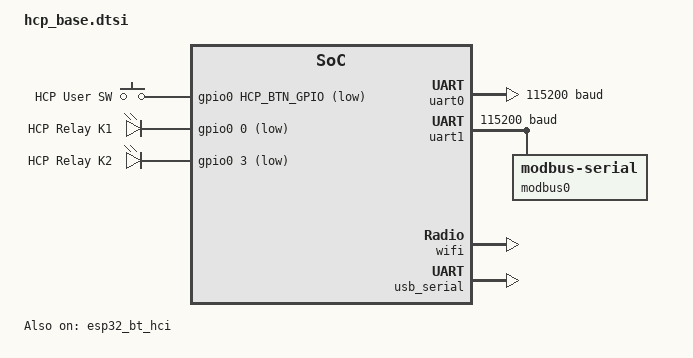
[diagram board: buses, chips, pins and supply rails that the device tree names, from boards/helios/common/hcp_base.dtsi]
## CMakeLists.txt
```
# Helios Collector Platform (HCP) — Zephyr application
# Copyright (c) 2026 maybetaken
# SPDX-License-Identifier: Apache-2.0
cmake_minimum_required(VERSION 3.20.0)

# The three reusable modules (blufi, ota_client, ws2812_rmt) are west projects
# now, fetched into the workspace's modules/ tree - west discovers them by their
# zephyr/module.yml, so nothing here needs to name them. What does need naming is
# the devicetree root: dts roots are collected from the west manifest, and this
# application is not a west module. Verified the hard way - without DTS_ROOT, a
# node using the module's compatible got its properties ignored (no DT_HAS_*
# symbol, so the driver's Kconfig was never selectable) and the failure surfaced
# much later as an undefined device object at link time.
#
# ZEPHYR_BASE is only defined INSIDE find_package(Zephyr), so it cannot be used
# here - the workspace root comes from the environment instead, which west sets.
list(APPEND DTS_ROOT $ENV{ZEPHYR_BASE}/../modules/drivers/ws2812_rmt)

find_package(Zephyr REQUIRED HINTS $ENV{ZEPHYR_BASE})
project(hcp LANGUAGES C CXX)

# Reusable lib modules (each owns its Kconfig/CMake/tests).
add_subdirectory(lib/kernel)
add_subdirectory(lib/log)
add_subdirectory(lib/input)
add_subdirectory(lib/storage)
add_subdirectory(lib/transport/serial)
add_subdirectory(lib/modbus)
add_subdirectory(lib/registry)
add_subdirectory(lib/collector)
add_subdirectory(lib/switch)
add_subdirectory(lib/led)
add_subdirectory(lib/net)
add_subdirectory(lib/identity)
add_subdirectory(lib/provision)
add_subdirectory(lib/mqtt)
add_subdirectory(lib/ssdp)
add_subdirectory(lib/ota)

# Application. main.cpp is only the entry point: the start-up sequence is
# hcp-app.cpp, and the collaborators it drives are the app_*.cpp beside it.
target_sources(app PRIVATE
  src/main.cpp
  src/hcp-app.cpp
  src/app_demos.cpp
  src/app_blufi.cpp
  src/app_services.cpp)
```

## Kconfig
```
# HCP application Kconfig
# Copyright (c) 2026 maybetaken
# SPDX-License-Identifier: Apache-2.0

mainmenu "Helios Collector Platform"

# Reusable lib modules (each owns its Kconfig).
rsource "lib/kernel/Kconfig"
rsource "lib/log/Kconfig"
rsource "lib/input/Kconfig"
rsource "lib/storage/Kconfig"
rsource "lib/transport/serial/Kconfig"
rsource "lib/modbus/Kconfig"
rsource "lib/registry/Kconfig"
rsource "lib/collector/Kconfig"
rsource "lib/switch/Kconfig"
rsource "lib/led/Kconfig"
rsource "lib/net/Kconfig"
rsource "lib/identity/Kconfig"
rsource "lib/provision/Kconfig"
rsource "lib/mqtt/Kconfig"
rsource "lib/ssdp/Kconfig"
rsource "lib/ota/Kconfig"

# Zephyr's default log ring is 1024 B. That is not enough for the ESP32-C3's boot
# burst: MCUboot's own load lines and the ESP HAL chatter fill it before the log
# thread drains anything, and the first application messages of every boot - the
# identity block and the build banner - were being dropped (three captures in a row
# showed nothing of it, while the same build with 2048 B showed all three lines).
# The ESP32-C5 cannot afford the extra kilobyte: its SRAM links with about 3,200
# bytes free (measured), so it keeps the default and its boot log stays lossy.
config LOG_BUFFER_SIZE
	default 2048 if !BOARD_HCP_C5

config HCP_BENCH
	bool "Bench / HIL firmware: bring-up aids on, verbose logging"
	default n
	help
	  A build meant to be run on the test bench rather than shipped: device-domain
	  logging is debug so the boot is readable without a serial session, and the
	  bring-up aids in src/app_demos.cpp are available. hcp::provision, MQTT, SSDP,
	  OTA and the collector stay in, so a bench device is reachable and upgradeable
	  over the network - which is the point: after the first flash it should never
	  need the USB port again.

	  ./build.sh <board> --bench

	  The aids are still each behind their own switch and none is turned on by this
	  symbol. Two of them want pins the product path is already using: the Modbus
	  poll demo would be a second master on the bus hcp::collector owns, and the raw
	  loopback test drives the same uart1 TX/RX. The LED colour cycle needs the strip
	  to itself, so it only compiles when hcp::provision is off (a status light and a
	  demo cannot share one pin) - add -DCONFIG_HCP_PROVISION=n for that.

	  The product build compiles none of this in, and the boot banner says which
	  image is running.

config APP_VERSION
	string "firmware version (dotted numeric: major.minor.patch.build)"
	default "2.0.3.21"
	help
	  The one version knob of a build. Reported on the <sn>/online topic and used
	  by hcp::ota as "what am I running", so an update is only taken when the
	  server offers something above it (hcp::ota_client parses up to four dotted
	  fields, so 2.0.3.14 compares correctly against an earlier 2.0.3.13).

	  MCUboot compares the version in the image header
	  (CONFIG_MCUBOOT_IMGTOOL_SIGN_VERSION), not this string, so the two have to
	  move together: ./build.sh <board> --version <x.y.z.w> sets both. It spells
	  the header version as x.y.z+w because that is all imgtool's regex accepts -
	  see the note in prj.conf.

	  The release line started at 2.0.0.0; it is deliberately four fields so a
	  build number can be bumped without touching the version the hardware contract
	  (Home Assistant's firmware sensor) sees as major.minor.patch.

source "Kconfig.zephyr"
```

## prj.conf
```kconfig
# HCP application defaults (board defconfig provides SoC/console basics)
# Copyright (c) 2026 maybetaken
# SPDX-License-Identifier: Apache-2.0
CONFIG_CONSOLE=y
CONFIG_SERIAL=y
CONFIG_UART_CONSOLE=y
CONFIG_GPIO=y
CONFIG_BOOT_BANNER=y
# Zephyr LOG subsystem (hcp::log zephyr backend routes through it)
CONFIG_LOG=y
CONFIG_LOG_PRINTK=y
# Buffered (deferred) logging, deliberately NOT CONFIG_LOG_MODE_IMMEDIATE: the
# console is USB-Serial-JTAG, whose host may simply stop reading (laptop asleep,
# terminal closed, or a stale handle after the device re-enumerates). With
# immediate mode the log call writes synchronously, so once the TX ring fills
# *whichever thread logged* blocks there - the product keeps running (link up, LED
# green) while no log line can ever appear again. In buffered mode a full ring just
# drops messages (logged with a counter) and no business thread is ever stalled by
# the debug port. Immediate mode also formatted on the caller's stack, which is what
# forced the oversized BT RX stack below.
# The log buffer is 2048 B on the C6 and C3 (see LOG_BUFFER_SIZE in the application
# Kconfig, which says what the 1024 B default cost us) and left at Zephyr's default
# on the ESP32-C5, where the extra kilobyte does not fit: raising it there overflowed
# SRAM, the binding target for memory on that board.
# Device-domain INFO. It used to be 4 (debug) purely so the "alive, uptime" line
# was visible by default; that line is debug-level now (the P0 self-test that came
# with it is gone), so raising the whole domain back to debug for it would only
# flood every other device message. For a bench session: -- -DCONFIG_HCP_LOG_LEVEL_DEVICE=4
CONFIG_HCP_LOG_LEVEL_DEVICE=3
# C++ runtime (operator new/delete used by hcp::kernel backends)
CONFIG_CPP=y
# ESP HAL drivers (spi_flash, intc_esp32) and esp_wifi (CONFIG_ESP_WIFI_HEAP_SYSTEM)
# use the kernel heap; esp_wifi needs a large pool or association/DHCP get flaky.
CONFIG_HEAP_MEM_POOL_SIZE=51200
# hcp::kernel's static thread pool. 8 slots (8 x 2 KB stacks + thread objects,
# ~20 KB of SRAM) was never used: a normal build runs the producer only, the LED
# demo is off while hcp::provision owns the strip, and modbus/net are demo-gated.
# The ESP32-C5 hpcore image did not fit in SRAM once TCP + IGMP were added, so the
# pool is sized to what the product actually starts; raise it if a build enables
# several workers at once.
CONFIG_HCP_KERNEL_MAX_THREADS=4
# esp_wifi should allocate from the system heap above (choice symbol, set here)
CONFIG_ESP_WIFI_HEAP_SYSTEM=y
# Wi-Fi / net stack sizing
CONFIG_MAIN_STACK_SIZE=4096
CONFIG_SYSTEM_WORKQUEUE_STACK_SIZE=4096
CONFIG_NET_MGMT_EVENT_STACK_SIZE=4096
# A Wi-Fi scan emits one net_mgmt event per AP.  The default queue (5) drops
# results when the phone is connected over BLE and several APs are found.
CONFIG_NET_MGMT_EVENT_QUEUE_SIZE=32
# Device name on the LAN. hcp::identity owns the real value: it resolves the
# serial number (storage "dev/snr", else the station MAC) and pushes it through
# net_hostname_set(), so the router's client list shows exactly the string the
# MQTT topics start with - without NET_HOSTNAME_ENABLE the DHCPv4 client sends no
# option 12 and every unit looks like its MAC vendor ("Espressif"). The module
# selects NET_HOSTNAME_ENABLE/DYNAMIC itself; what is set here is the name used
# until identity::Init() runs - the "hcp-" prefix plus the STA MAC in lowercase
# hex (NET_HOSTNAME_UNIQUE appends it at interface init), which for a MAC-derived
# serial already is the final answer.
CONFIG_NET_HOSTNAME_ENABLE=y
CONFIG_NET_HOSTNAME="hcp-"
CONFIG_NET_HOSTNAME_UNIQUE=y
# BLE (BluFi): LOG_MODE_IMMEDIATE formats every log line on the calling thread.
# GATT service discovery runs on the BT RX thread; the 1200-byte default stack
# overflows there (illegal-instruction crash in cbvprintf on the first client
# Read By Group Type). Size it like the other threaded stacks above.
CONFIG_BT_RX_STACK_SIZE=4096
# BLE (BluFi): the stack defaults are tuned for tiny 23-byte packets. BluFi
# control/data frames (wifi list, encrypted ssid/password) are far larger, so a
# bt_gatt_notify() of >20B payload fails with -ENOMEM. Raise the ATT/L2CAP MTU and
# the ACL buffer size so notifications up to a full BluFi frame (~259B) fit; the
# EspBlufi app requests MTU 517 after connecting, so accept that here.
CONFIG_BT_L2CAP_TX_MTU=512
CONFIG_BT_BUF_ACL_TX_SIZE=251
CONFIG_BT_BUF_ACL_RX_SIZE=251
# BLE (BluFi) TX power. Zephyr's BT_CTLR_TX_PWR choice defaults to 0 dBm and nobody
# raised it, so the C6 controller (components/bt/include/esp32c6/esp_bt.h maps
# CONFIG_BT_CTLR_TX_PWR_* -> ESP32_BT_CTRL_DFT_TX_POWER_LEVEL_EFF -> BLE_LL_TX_PWR_DBM_N)
# advertised ~9 dB below what an ESP-IDF build does - that is the "weak signal /
# dropped notifications" symptom. Choice symbol, so it must be assigned here, not
# selected. +9 dBm is the ESP-IDF-era default and well inside the module's range
# (it supports up to +21); re-check current consumption if this board gets battery-
# powered OTA.
CONFIG_BT_CTLR_TX_PWR_PLUS_9=y
# BluFi (ESP-compatible BLE provisioning): part of the product, so on by default
# for every board. Selects BT/BT_PERIPHERAL/BT_DRIVERS/BT_ESP32 (see
# modules/lib/blufi/Kconfig). Encrypted provisioning is implemented but stays
# off by default (CONFIG_BLUFI_SECURITY=n): plaintext works with both the WeChat
# mini-program and the Espressif apps, and enabling it links a vendored
# mbedtls-2.4 DHM/bignum/AES/MD5 (~15 KB).
CONFIG_BLUFI=y
# EspBlufi / ESP-Config filter discovered devices by a BLUFI-prefixed name.
CONFIG_BT_DEVICE_NAME="BLUFI_DEVICE"
# BluFi advertises from a fresh random-static identity each boot (blufi_start calls
# bt_id_create) so the phone does not reuse a cached per-address provisioning state.
# Zephyr's default BT_ID_MAX=1 leaves only BT_ID_DEFAULT, so bt_id_create returned
# -ENOMEM (-12) and the code silently fell back to the fixed public address - the
# whole point was lost. Keep one spare slot for it.
CONFIG_BT_ID_MAX=2
# A Wi-Fi scan or association burst deafens the ESP32's shared 2.4 GHz radio to
# BLE for seconds; against phones that negotiate a short supervision timeout the
# link then drops (reason 8) mid-provisioning and the final report never reaches
# the app (the WeChat mini-program sits at 85%). Ask for a timeout that survives
# the radio gap: 600 = 6 s, the Apple guideline maximum (the central may refuse).
CONFIG_BLUFI_BLE_SUPERVISION_TIMEOUT=600

# Persistent KV storage for Wi-Fi credentials (hcp::storage -> Zephyr settings ->
# NVS on the DT-chosen "storage" partition). Without these the module falls back to
# the POSIX backend and nothing survives a reboot.
CONFIG_FLASH=y
CONFIG_FLASH_MAP=y
CONFIG_NVS=y
CONFIG_SETTINGS=y
CONFIG_SETTINGS_NVS=y
CONFIG_HCP_STORAGE=y
CONFIG_HCP_STORAGE_BACKEND_ZEPHYR=y
# A WPA2 passphrase is up to 63 characters; the default 64 leaves no room for the
# terminating NUL in the cached value.
CONFIG_HCP_STORAGE_MAX_VALUE=96

# MQTT service session (lib/mqtt, on Zephyr's own MQTT library). It brings the
# status LED from violet (Wi-Fi only) to green (broker session up).
# Credentials are compiled in deliberately: the account is created by the user on
# their own broker, so it is not provisioned over the air. The broker address is
# NOT - hcp::ssdp picks it up from Home Assistant's announcement
# ("maybetaken: mqtt://<host>" on 239.255.255.250:1900) and hands it over; setting
# CONFIG_HCP_MQTT_HOST below is only a manual fallback.
CONFIG_HCP_MQTT_USER="maybetaken"
CONFIG_HCP_MQTT_PASS="maybetaken"
#CONFIG_HCP_MQTT_HOST="192.168.31.100"
#CONFIG_HCP_MQTT_PORT=1883
# Topics are prefixed with the device serial number (derived from the station MAC
# on first boot, kept in storage): "<sn>/online", "<sn>/state", "<sn>/cmd".
#CONFIG_HCP_MQTT_TOPIC_ONLINE="online"
#CONFIG_HCP_MQTT_FW_VERSION="0.1.0"

# Modbus: hcp::modbus, whose default backend is hcp's own RTU frame engine over
# hcp::serial::Port (see lib/modbus/Kconfig and include/hcp/modbus/rtu.h for why). No
# third-party stack is involved either way. The subsys backend, if chosen, requires
# its node role to be chosen, and a
# Kconfig choice cannot be `select`ed from another symbol, so a subsys build has to
# assign it here: CONFIG_MODBUS_ROLE_CLIENT=y.
# The default backend (hcp's own RTU engine, see lib/modbus/Kconfig) does not need
# it and does not build the subsys at all. Everything else about the port is
# devicetree: the `zephyr,modbus-serial` child of uart1 in
# boards/helios/common/hcp_base.dtsi, with de-gpios added by each board's
# *-rs485.overlay for the RS485 variant.
# The subsys' serial path runs on the UART interrupt API (modbus_serial.c calls
# uart_irq_callback_user_data_set()), and uart_esp32.c compiles its whole IRQ block
# - irq_callback_set included - under CONFIG_UART_INTERRUPT_DRIVEN. hcp::serial polls
# the UART, so this symbol was never on before and modbus_init_client() failed with
# -EINVAL on target.
CONFIG_UART_INTERRUPT_DRIVEN=y

# Firmware update: hcp::ota on the reusable ota_client module. Nothing to set here -
# CONFIG_HCP_OTA (see lib/ota/Kconfig) defaults to on, selects CONFIG_OTA_CLIENT, and
# the sink selects BOOTLOADER_MCUBOOT + MCUBOOT_IMG_MANAGER, which moves the
# application into image-0 at 0x20000 and makes MCUboot (flashed at 0x0) the thing
# that boots it. See tools/mcuboot/mcuboot.conf for the bootloader's side of the
# layout and tools/mcuboot/README.md for how to build, flash and test it.
# Trial swap is the rule: hcp::ota confirms a new image only once it has a live
# broker session, so firmware that cannot reach the network rolls back.
# (ESP32-C5 is the exception: MCUboot mode overflows its SRAM by 8.6 KB measured
# before hcp::ota is even included, so HCP_OTA defaults to n there.)
# The endpoints Home Assistant serves on the discovered host:
#CONFIG_HCP_OTA_VERSION_URL="http://%s:9998/version.txt"
#CONFIG_HCP_OTA_IMAGE_URL="http://%s:9998/firmware.bin"
# The version of this build, in the two places it is read: CONFIG_APP_VERSION is
# what hcp::ota compares against the server's version.txt, and
# CONFIG_MCUBOOT_IMGTOOL_SIGN_VERSION is what imgtool stamps into the MCUboot image
# header - which is what MCUboot's own downgrade prevention compares. Leaving the
# second at Zephyr's default 0.0.0+0 would make that check meaningless, so both are
# set here, and "./build.sh <board> --version 2.0.3.15" overrides the pair together
# when an update image is produced.
#
# They are NOT the same spelling, and that is imgtool's limit rather than a choice:
# imgtool accepts maj.min.rev with an optional "+build" (verified against this
# MCUboot - scripts/imgtool/version.py), so the dotted fourth field the application
# reports has to arrive as a '+' for the image header. build.sh does that
# translation; keep it that way if you edit these lines by hand.
CONFIG_APP_VERSION="2.0.3.21"
CONFIG_MCUBOOT_IMGTOOL_SIGN_VERSION="2.0.3+21"
```

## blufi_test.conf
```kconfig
# BluFi bring-up overlay config: pass with
#   west build ... -- -- -DEXTRA_CONF_FILE=blufi_test.conf
# BT/BT_PERIPHERAL/BT_ESP32 etc. are pulled in by CONFIG_BLUFI's `select` chain
# in modules/lib/blufi/Kconfig.
CONFIG_BLUFI=y
CONFIG_BT_DEVICE_NAME="BLUFI_DEVICE"

# Encrypted provisioning (DH negotiation + AES-128-CFB128) is implemented but
# kept off by default: plaintext works end-to-end with both the WeChat
# mini-program and the Espressif apps, and the handshake pulls in a vendored
# mbedtls-2.4 (DHM/bignum/AES/MD5). Flip this to y to use it.
CONFIG_BLUFI_SECURITY=n
```

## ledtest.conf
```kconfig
CONFIG_HCP_LED_TEST=y
```

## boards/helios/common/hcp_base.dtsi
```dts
/*
 * HCP shared board skeleton (all Helios custom boards).
 *
 * The including board .dts MUST, before this file:
 *   - include its Espressif module dtsi, the partitions dtsi, and its
 *     `<board>-pinctrl.dtsi` (which defines uart0_default + uart1_default),
 *   - define the macros HCP_SRAM (label: sramhp|sram1) and HCP_BTN_GPIO
 *     (the button's GPIO number).
 *
 * Copyright (c) 2026 maybetaken
 *
 * SPDX-License-Identifier: Apache-2.0
 */

#include <zephyr/dt-bindings/gpio/gpio.h>
#include <zephyr/dt-bindings/input/input-event-codes.h>

/* Console node. The RISC-V parts (C3/C5/C6) have a native USB-Serial-JTAG CDC; the
 * classic dual-core ESP32 does not, so it defines HCP_CONSOLE as a UART and
 * HCP_NO_USB_SERIAL to skip the usb_serial node entirely. */
#ifndef HCP_CONSOLE
#define HCP_CONSOLE usb_serial
#endif

/ {
	chosen {
		zephyr,sram = &HCP_SRAM;
		zephyr,console = &HCP_CONSOLE;
		zephyr,shell-uart = &HCP_CONSOLE;
		zephyr,flash = &flash0;
		zephyr,code-partition = &slot0_partition;
		/* Persistent KV (hcp::storage -> settings -> NVS) uses the 192 KB
		 * "storage" slot of Espressif's default partition table, so provisioned
		 * Wi-Fi credentials survive a power cycle without a new partition per board. */
		zephyr,storage = &storage_partition;
	};

	aliases {
		sw0 = &hcp_button;
		hcp-uart = &uart1;
		hcp-k1 = &relay_k1;
		hcp-k2 = &relay_k2;
		/* Watchdog the trial-image deadline is set on (hcp::kernel) and the one
		 * MCUboot's watchdog code looks for by the same name. The alias is here so
		 * both sides agree; the node itself is only enabled on the boards that boot
		 * through MCUboot - where it stays "disabled", ArmWatchdog() has nothing to
		 * arm and the update path behaves as it did before. */
		watchdog0 = &wdt0;
	};

	gpio_keys {
		compatible = "gpio-keys";
		hcp_button: button_0 {
			label = "HCP User SW";
			gpios = <&gpio0 HCP_BTN_GPIO (GPIO_PULL_UP | GPIO_ACTIVE_LOW)>;
			zephyr,code = <INPUT_KEY_0>;
		};
	};

	/* Relay outputs K1/K2 (same pins across chips, active-low per the original
	 * firmware). Held as gpio-leds so the gpios property parses; hcp::switchctl
	 * drives them via gpio_dt_spec (logical 1 = assert = physical low). */
	relays {
		compatible = "gpio-leds";
		relay_k1: relay_0 {
			label = "HCP Relay K1";
			gpios = <&gpio0 0 GPIO_ACTIVE_LOW>;
		};
		relay_k2: relay_1 {
			label = "HCP Relay K2";
			gpios = <&gpio0 3 GPIO_ACTIVE_LOW>;
		};
	};
};

&uart0 {
	status = "okay";
	current-speed = <115200>;
	pinctrl-0 = <&uart0_default>;
	pinctrl-names = "default";
};

/* Modbus UART (UART1). Default TTL pins; RS485 variant overlay re-pins + DE. */
&uart1 {
	status = "okay";
	current-speed = <115200>;
	pinctrl-0 = <&uart1_default>;
	pinctrl-names = "default";

	/* hcp::modbus rides Zephyr's own Modbus RTU client (subsys/modbus) on this
	 * UART. The subsys owns the RTU framing, the t3.5 inter-frame timing and -
	 * through de-gpios, set by the RS485 variant overlay - the direction line of
	 * the external transceiver. The client looks the interface up by this node's
	 * name, so renaming it means updating hcp::modbus to match. */
	modbus0: modbus0 {
		compatible = "zephyr,modbus-serial";
		status = "okay";
	};
};

&gpio0 {
	status = "okay";
};

/* Wi-Fi is physically present on all Espressif Helios boards; the node is
 * always enabled here, and the networking stack / driver is pulled in only
 * when CONFIG_HCP_NET (see lib/net) selects CONFIG_WIFI. */
&wifi {
	status = "okay";
};

/* ESP32 Bluetooth controller (HCI) — needed for BLE/BluFi. Disabled by default
 * in the SoC dtsi; the stock devkitc enables it the same way. */
&esp32_bt_hci {
	status = "okay";
};

/* Console via native USB-Serial-JTAG (CDC-ACM) -> /dev/cu.usbmodem* on host.
 * Absent on the classic ESP32, which defines HCP_NO_USB_SERIAL. */
#ifndef HCP_NO_USB_SERIAL
&usb_serial {
	status = "okay";
};
#endif
```

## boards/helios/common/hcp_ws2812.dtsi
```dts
/*
 * HCP shared WS2812 binding: one data line, waveforms from RMT.
 *
 * The strip's data line is GPIO8 on all three Helios boards - the same pin the previous
 * firmware drove (_led(GPIO_NUM_8, 1)).
 *
 * The alias is what the application looks up, so nothing above the devicetree knows
 * which peripheral produces the waveform.
 *
 * Copyright (c) 2026 maybetaken
 *
 * SPDX-License-Identifier: Apache-2.0
 */

#include <zephyr/dt-bindings/gpio/gpio.h>
#include <zephyr/dt-bindings/led/led.h>

/ {
	aliases {
		hcp-led-strip = &led_strip;
	};

	led_strip: led-strip {
		compatible = "espressif,esp32-ws2812-rmt";
		status = "okay";

		data-gpios = <&gpio0 8 GPIO_ACTIVE_HIGH>;
		chain-length = <1>;

		/* RMT TX channel 0: nothing else on these boards uses RMT. */
		espressif,rmt-channel = <0>;

		/* The board states how its LED is wired; the driver obeys. */
		color-mapping = <LED_COLOR_ID_GREEN
				 LED_COLOR_ID_RED
				 LED_COLOR_ID_BLUE>;
	};
};
```

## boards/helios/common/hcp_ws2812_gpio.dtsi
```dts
/*
 * HCP shared WS2812 binding - ESP32-C3 variant: one GPIO, bit-banged.
 *
 * The other Helios boards drive the strip through Zephyr's worldsemi,ws2812-spi
 * (see hcp_ws2812.dtsi), which works on C6. On the C3 the same route initialised
 * cleanly (no "LED unavailable" in the boot log) and still left the LED dark on two
 * different boards, while the previous firmware lit this very pin with RMT - a
 * single output line, no clock. That points at the SPI route on this part, not at
 * the pin, so C3 uses the RMT-equivalent shape: GPIO bit-banging with
 * CONFIG_HCP_LED_BACKEND_GPIO_BITBANG, whose timing is in strip_zephyr.cpp.
 *
 * The alias keeps the same name (hcp-led-strip) so the application code does not
 * branch on which backend it is talking to; only the binding differs. The node is
 * typed as gpio-leds so the gpios property is a real binding, and the child is what
 * the driver looks up.
 *
 * SPDX-License-Identifier: Apache-2.0
 */

#include <zephyr/dt-bindings/gpio/gpio.h>

/ {
	aliases {
		hcp-led-strip = &led_strip;
	};

	led_strip: led-strip {
		compatible = "gpio-leds";

		led_0: led-0 {
			/* LED data, the same pin the old firmware drove with RMT. */
			gpios = <&gpio0 8 GPIO_ACTIVE_HIGH>;
		};
	};
};
```

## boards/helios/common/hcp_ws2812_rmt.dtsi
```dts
/*
 * HCP shared WS2812 binding - ESP32-C3 variant: one data line, driven by RMT.
 *
 * The C6 and C5 describe the same strip through Zephyr's worldsemi,ws2812-spi
 * (hcp_ws2812.dtsi), which is verified working on the C6. On the C3 that route
 * initialised cleanly and left the LED dark on two different boards, while the
 * previous firmware lit this very pin from the RMT peripheral - so the C3 binds the
 * strip to espressif,esp32-ws2812-rmt (modules/drivers/ws2812_rmt), whose bit cells
 * come from a hardware counter rather than from CPU timing.
 *
 * Why the other two are not switched over yet, stated rather than left implicit:
 * their RMT is a later hardware generation, and the channel-data register has a
 * different member name and a different number of channels per instance (C3
 * `data_ch[4]`, C5 `chndata[4]`, C6 `chndata[2]`). Making that compile is easy and
 * proving it is not possible without one of those boards on the bench, and a driver
 * that silently writes the wrong generation's register reports itself as a dead LED -
 * the exact symptom this whole exercise started from. So the driver refuses to build
 * for a part it does not describe, and this file is included by the C3 alone until
 * someone can measure the others.
 *
 * The alias is the name the application looks up, so nothing above the devicetree
 * knows or needs to know which of the two drivers is underneath.
 *
 * SPDX-License-Identifier: Apache-2.0
 */

#include <zephyr/dt-bindings/gpio/gpio.h>
#include <zephyr/dt-bindings/led/led.h>

/ {
	aliases {
		hcp-led-strip = &led_strip;
	};

	led_strip: led-strip {
		compatible = "espressif,esp32-ws2812-rmt";
		status = "okay";

		/* LED data. The same pin the old firmware drove with RMT. */
		data-gpios = <&gpio0 8 GPIO_ACTIVE_HIGH>;
		chain-length = <1>;

		/* RMT TX channel 0: nothing else on this board uses RMT. */
		espressif,rmt-channel = <0>;

		/* How this board's LED is wired, which the driver obeys rather than
		 * assumes: WS2812-class parts take green first. */
		color-mapping = <LED_COLOR_ID_GREEN
				 LED_COLOR_ID_RED
				 LED_COLOR_ID_BLUE>;
	};
};
```

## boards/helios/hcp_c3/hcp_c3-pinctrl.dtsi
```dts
/*
 * HCP ESP32-C3 pin control. Console UART (uart0) + Modbus UART (uart1, TTL).
 * Copyright (c) 2026 maybetaken
 *
 * SPDX-License-Identifier: Apache-2.0
 */

#include <zephyr/dt-bindings/pinctrl/esp-pinctrl-common.h>
#include <zephyr/dt-bindings/pinctrl/esp32c3-pinctrl.h>
#include <zephyr/dt-bindings/pinctrl/esp32c3-gpio-sigmap.h>

&pinctrl {
	uart0_default: uart0_default {
		group1 {
			pinmux = <UART0_TX_GPIO21>;
			output-high;
		};
		group2 {
			pinmux = <UART0_RX_GPIO20>;
			bias-pull-up;
		};
	};

	uart1_default: uart1_default {
		group1 {
			pinmux = <UART1_TX_GPIO1>;
			output-high;
		};
		group2 {
			pinmux = <UART1_RX_GPIO2>;
			bias-pull-up;
		};
	};
};
```

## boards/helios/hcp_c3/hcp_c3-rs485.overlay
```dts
/*
 * Copyright (c) 2026 maybetaken
 *
 * ESP32-C3 RS485 variant overlay (mutually exclusive with the default TTL).
 * Applied via: build.sh hcp_c3 --rs485
 * Re-pins UART1 to the c3-485 physical pads (TX=GPIO4, RX=GPIO6) and adds the
 * DE/RE direction line for the external TTL->RS485 transceiver (DE=GPIO5),
 * exported as alias `hcp-rs485-dir` so the serial backend toggles it.
 *
 * SPDX-License-Identifier: Apache-2.0
 */

#include <zephyr/dt-bindings/gpio/gpio.h>
#include <zephyr/dt-bindings/pinctrl/esp32c3-pinctrl.h>
#include <zephyr/dt-bindings/pinctrl/esp32c3-gpio-sigmap.h>

/ {
	aliases {
		hcp-rs485-dir = &rs485_dir;
	};

	rs485 {
		compatible = "gpio-leds";
		rs485_dir: rs485-dir {
			label = "RS485 DE/RE";
			gpios = <&gpio0 5 GPIO_ACTIVE_HIGH>;
		};
	};
};

&pinctrl {
	uart1_rs485_default: uart1_rs485_default {
		group1 {
			pinmux = <UART1_TX_GPIO4>;
			output-high;
		};
		group2 {
			pinmux = <UART1_RX_GPIO6>;
			bias-pull-up;
		};
	};
};

&uart1 {
	pinctrl-0 = <&uart1_rs485_default>;
};

/* Zephyr's Modbus subsys drives DE itself: idle low, asserted for the duration of
 * each transmission (see modbus_serial.c), which is what the transceiver wants.
 * Same pad as the hcp-rs485-dir alias above, which hcp::serial still uses for the
 * raw loopback self-test - the two are not active in the same build. */
&modbus0 {
	de-gpios = <&gpio0 5 GPIO_ACTIVE_HIGH>;
};
```

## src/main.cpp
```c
/*
 * Helios Collector Platform (HCP) — entry point.
 *
 * One instance of the application, started, and nothing else. The sequence is in
 * hcp-app.cpp; the pieces of it live in app_bringup.cpp, app_demos.cpp,
 * app_blufi.cpp and app_services.cpp. This file stays four lines of code on
 * purpose: an entry point that cannot grow is one that cannot rot.
 *
 * Copyright (c) 2026 maybetaken
 *
 * SPDX-License-Identifier: Apache-2.0
 */
#include "hcp-app.h"

static hcp::App g_app;

int main(void) {
  g_app.Start();
  return 0; /* not reached: Start() ends in the liveness loop */
}
```

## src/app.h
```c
/*
 * HCP application internals - the collaborators the App drives. Internal to src/.
 *
 *   PhoneProvisioner  real state with a lifecycle: the credentials a phone is feeding us,
 *                     the AP set accumulated across scan passes, and the timeout/success
 *                     work items that must move together with the "already reported"
 *                     flags - coupling that was 22 file-scope globals and a comment.
 *   Services          no state, but a startup sequence with a strict order; the handlers
 *                     are members rather than file-statics.
 *   BringupAids       bench threads and the button fallback without hcp::provision, kept
 *                     separate so the product path does not read like the workshop.
 *
 * Copyright (c) 2026 maybetaken
 *
 * SPDX-License-Identifier: Apache-2.0
 */
#pragma once

#include <stdint.h>

#include <zephyr/kernel.h>

#include "hcp/net/wifi.h"

namespace hcp {
namespace app {

/* --------------------------------------------------------------------------
 * BringupAids: bench helpers, each behind its own CONFIG_* switch.
 * -------------------------------------------------------------------------- */
class BringupAids {
 public:
  // Binds the button when hcp::provision is absent and starts whichever aids the
  // build turned on. Does nothing at all in a normal product build.
  void Start();

 private:
#ifndef CONFIG_HCP_PROVISION
  static void OnButton(bool pressed, void* arg);
#endif
#if defined(CONFIG_HCP_BENCH) && defined(CONFIG_HCP_LED) && !defined(CONFIG_HCP_PROVISION)
  // Colour cycle, to show the strip is alive. Bench image only: a shipped device
  // shows state through the LED, not a demo.
  static void LedWorker(void* arg);
#endif
#ifdef CONFIG_HCP_MODBUS_DEMO
  static void ModbusWorker(void* arg);
#endif
#ifdef CONFIG_HCP_SERIAL_LOOPBACK_TEST
  static void LoopbackWorker(void* arg);
#endif
#ifdef CONFIG_HCP_RTU_PROBE
  // Raw RTU request/reply with the bytes printed - for when a real slave answers and
  // Zephyr's subsys refuses the frame before logging it.
  static void RtuProbeWorker(void* arg);
#endif
#ifdef CONFIG_HCP_NET_DEMO
  static void NetWorker(void* arg);
  static void OnWifi(hcp::net::WifiEvent e, void* user);
#endif
};

/* --------------------------------------------------------------------------
 * Services: the running product, in the order it must come up.
 * -------------------------------------------------------------------------- */
class Services {
 public:
  // hcp::provision, then the MQTT session, SSDP discovery, the collector queue and
  // the OTA path. Called once from App::Start().
  void Start();

 private:
#ifdef CONFIG_HCP_MQTT
  // <sn>/cmd: Home Assistant's text commands (hcp::ota owns "ota").
  static void OnMqttCommand(const uint8_t* payload, size_t len, void* user);
#endif
#if defined(CONFIG_HCP_OTA) || defined(CONFIG_HCP_PROVISION)
  /* The diagnostics fields hcp::mqtt cannot know: "led" (the light entity reads its
   * state from there), the two frame/pattern counters behind it, and "ota" once an
   * update has been tried. */
  static int StateExtra(char* buf, size_t cap);
#endif
};

/* --------------------------------------------------------------------------
 * PhoneProvisioner: the no-provisioning-state-machine BluFi path.
 *
 * One instance, owned by App. Espressif's apps and the WeChat mini-program drive
 * this through BLE; it owns the connect attempt, the AP list shown to the phone
 * and the reports that tell the phone how it went.
 * -------------------------------------------------------------------------- */
#ifdef CONFIG_BLUFI
class PhoneProvisioner {
 public:
  static constexpr int kMaxAps = 32;
  // One BluFi frame, so the phone shows the list without reassembling (see OnScan).
  static constexpr int kMaxListBytes = 255;
  /*
   * Association attempts the phone-driven connect gets before the phone is
   * told it failed. The official WeChat mini-program (ESP-Config-WeChat,
   * pages/blueConnect/blueConnect.js) can only render ONE report per
   * provisioning run: its UI moves to 85% on the first WIFI_REP notification
   * and to 100% only if that first report's second byte is 0x00 (SUCCESS).
   * A FAIL report freezes it at 85% until its own 20 s timeout - and because
   * it never clears its accumulated byte array between notifications, no
   * later SUCCESS can reach the byte position it checks either. So every
   * intermediate failure MUST be retried silently, and exactly one final
   * report (SUCCESS, or the FAIL after the last attempt) must be sent.
   */
  static constexpr int kPhoneConnAttempts = 3;

  // Registers the Wi-Fi callback and the BluFi data handler and arms the work items.
  // Called before the provisioning state machine starts, because that machine drives
  // the same reports through these hooks.
  void Init();

  // Nothing else in this build owns provisioning: advertise and wait for a phone.
  void StartStandalone();

 private:
  struct Ap {
    char ssid[33];
    uint8_t bssid[6];
    uint8_t channel;
    int8_t rssi;
  };

  // ---- logic, all instance methods ----
  void OnWifiEvent(hcp::net::WifiEvent e);
  void OnData(uint8_t type, uint8_t subtype, const uint8_t* data, uint16_t len);
  void ReportState(uint8_t sta_state);
  void ReportSuccess();
  void ReportFail(uint8_t reason);
  void ConnectNow();          // on the system workqueue, never the BT RX thread
  void OnScanResult(const hcp::net::ScanResult* r);
  void OnProvTimeout();
  void OnSuccReportDue();
  // One phone-driven association attempt failed: retry it silently while the
  // budget lasts, and only tell the phone about the final failure (see
  // kPhoneConnAttempts for why an intermediate FAIL report is fatal to the
  // WeChat mini-program's UI). Returns true when a retry was scheduled.
  bool FailOrRetry();
  const Ap* FindAp(const char* ssid) const;

  // ---- thunks: the APIs below take plain function pointers ----
  static void WifiEventThunk(hcp::net::WifiEvent e, void* user);
  static void ScanThunk(const hcp::net::ScanResult* r, void* user);
  static void DataThunk(uint8_t type, uint8_t subtype, const uint8_t* data,
                        uint16_t len, void* user);
  static void ProvWorkThunk(struct k_work* work);
  static void ProvTimeoutThunk(struct k_work* work);
  static void SuccWorkThunk(struct k_work* work);
  static void RetryThunk(struct k_work* work);

  // ---- state ----
  char ssid_[33];
  char pass_[65];

  Ap aps_[kMaxAps];
  int ap_count_ = 0;
  int scan_pass_ = 0;
  uint8_t wlist_[kMaxListBytes];
  uint16_t wlist_len_ = 0;

  /* Which attempt is in flight, and whether the phone has been told: the timeout
   * handler reads these to choose a FAIL report over a late SUCCESS one. */
  atomic_t prov_active_;
  atomic_t succ_sent_;
  // Association attempts issued for the current phone-driven connect (see
  // kPhoneConnAttempts).
  int phone_attempts_ = 0;
  // True once any Wi-Fi driver event has been seen (or a connect issued):
  // until then the pre-connect teardown dance in ConnectNow() is skipped,
  // saving its full 1 s wait on a fresh device.
  bool wifi_was_active_ = false;

  struct k_sem disconn_sem_;
  struct k_work prov_work_;
  struct k_work_delayable prov_timeout_;
  struct k_work_delayable succ_work_;
  struct k_work_delayable retry_work_;
};
#endif  // CONFIG_BLUFI

}  // namespace app
}  // namespace hcp
```

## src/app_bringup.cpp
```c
/*
 * HCP boot liveness.
 *
 * This used to be the P0 self-test: a producer thread pushing 1..5 through a
 * message queue, a timer ticking, and a consumer logging each value - plus an
 * "alive, uptime" line every second. The queue/thread/timer paths it exercised
 * are now exercised daily by hcp::provision and hcp::collector, so the self-test
 * is gone: it cost six log lines on every boot to prove something that, if it
 * were broken, would stop the device from ever reaching the network.
 *
 * What remains is the liveness line at debug level. It is worth keeping because
 * it is the only output that continues when everything else has failed - but it
 * is not information anybody reads in a shipping device, and in immediate mode
 * each line costs milliseconds of the USB console. To see it, build with
 * -DCONFIG_HCP_LOG_LEVEL_DEVICE=4.
 *
 * SPDX-License-Identifier: Apache-2.0
 */
#include "app.h"

#include "hcp/kernel/kernel.h"
#include "hcp/log/log.h"

namespace hcp {
namespace app {

void AliveLoop() {
  while (true) {
    HCP_LOGD(hcp::log::kDomainDevice, "alive, uptime %llu ms",
             static_cast<unsigned long long>(kernel::time::UptimeMs()));
    kernel::time::DelayMs(1000);
  }
}

}  // namespace app
}  // namespace hcp
```

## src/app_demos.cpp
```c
/*
 * HCP application - bring-up aids. Bench helpers, each behind its own CONFIG_* switch and
 * none of them part of what a shipped device does: poll a Modbus slave with no point
 * table, echo bytes through the RS-485/UART pins, join a network from Kconfig credentials.
 * The button binding is the fallback for a build without hcp::provision, which otherwise
 * owns the button and the status LED.
 *
 * Copyright (c) 2026 maybetaken
 *
 * SPDX-License-Identifier: Apache-2.0
 */
#include "app.h"

#include "hcp/input/input.h"
#include "hcp/kernel/kernel.h"
#include "hcp/log/log.h"

#if defined(CONFIG_HCP_BENCH) && defined(CONFIG_HCP_LED)
#include "hcp/led/strip.h"
#endif
#ifdef CONFIG_HCP_MODBUS_DEMO
#include "hcp/modbus/master.h"
#endif
#ifdef CONFIG_HCP_SERIAL_LOOPBACK_TEST
#include "hcp/serial/port.h"
#endif
#ifdef CONFIG_HCP_RTU_PROBE
#include "hcp/serial/port.h"
#endif
#ifdef CONFIG_HCP_NET_DEMO
#include "hcp/net/wifi.h"
#endif

namespace hcp {
namespace app {

using namespace hcp::kernel;

#ifndef CONFIG_HCP_PROVISION
void BringupAids::OnButton(bool pressed, void* /*arg*/) {
  HCP_LOGI(hcp::log::kDomainDevice, "button %s",
           pressed ? "pressed" : "released");
}
#endif

#if defined(CONFIG_HCP_BENCH) && defined(CONFIG_HCP_LED) && !defined(CONFIG_HCP_PROVISION)
// The strip made visible: four colours and off, 1.2 s apart. Bench image only, where
// nothing else drives it - hcp::provision owns the strip in a product build.
void BringupAids::LedWorker(void* /*arg*/) {
  hcp::led::Strip s(1);
  if (!s.Open()) {
    HCP_LOGW(hcp::log::kDomainDevice,
             "led_strip open failed (is CONFIG_HCP_LED on, and the alias bound?");
    return;
  }
  static const hcp::led::Color seq[] = {
      {40, 0, 0}, {0, 40, 0}, {0, 0, 40}, {20, 20, 0}, {0, 0, 0}};
  unsigned i = 0;
  while (true) {
    s.SetAll(seq[i]);
    s.Show();
    i = (i + 1) % (sizeof(seq) / sizeof(seq[0]));
    time::DelayMs(1200);
  }
}
#endif  // HCP_BENCH && HCP_LED && !HCP_PROVISION

#ifdef CONFIG_HCP_MODBUS_DEMO
// Bring-up aid: poll a Modbus slave over uart1 to exercise the RTU path on real hardware.
// With no slave attached this logs -ENOTCONN, which still proves the interface resolved,
// the uart was configured and the RS485 DE line toggles.
void BringupAids::ModbusWorker(void* /*arg*/) {
  hcp::modbus::Master bus;
  hcp::modbus::Config cfg;
  cfg.baud = CONFIG_HCP_MODBUS_DEFAULT_BAUD;
  cfg.response_timeout_ms = 500;
  if (!bus.Open(cfg)) {
    HCP_LOGE(hcp::log::kDomainModbus, "modbus open failed");
    return;
  }
  HCP_LOGI(hcp::log::kDomainModbus, "modbus master polling slave %d",
           CONFIG_HCP_MODBUS_DEMO_SLAVE);
  while (true) {
    uint16_t regs[4] = {};
    bool ok = bus.ReadHoldingRegisters(CONFIG_HCP_MODBUS_DEMO_SLAVE, 0, 4, regs);
    if (ok) {
      HCP_LOGI(hcp::log::kDomainModbus, "regs %u %u %u %u", regs[0], regs[1],
               regs[2], regs[3]);
    } else {
      HCP_LOGW(hcp::log::kDomainModbus, "poll failed (err=%d)", bus.last_error());
    }
    time::DelayMs(2000);
  }
}
#endif  // CONFIG_HCP_MODBUS_DEMO

#ifdef CONFIG_HCP_SERIAL_LOOPBACK_TEST
// Raw TX->RX loopback self-test on the modbus UART (hcp-uart alias = uart1).
// Short the port's TX and RX pins to see echo_ok turn true. c6 TTL = GPIO22<->23.
void BringupAids::LoopbackWorker(void* /*arg*/) {
  hcp::serial::Port p;
  if (!p.Open(CONFIG_HCP_SERIAL_UART_BAUD)) {
    HCP_LOGE(hcp::log::kDomainModbus, "loopback: uart open failed");
    return;
  }
  static const uint8_t pat[] = {0x55, 0xAA, 'H', 'C', 'P', '1', 0x0D, 0x0A};
  HCP_LOGI(hcp::log::kDomainModbus,
           "loopback start: short TX<->RX (c6 TTL GPIO22<->GPIO23)");
  while (true) {
    // Discard any stale bytes, then write and try to read the echo back.
    uint8_t dummy;
    while (p.Read(&dummy, 1, 0) > 0) {
    }
    p.Write(pat, sizeof(pat));
    uint8_t rb[sizeof(pat)] = {};
    int got = p.Read(rb, sizeof(pat), 100);
    bool ok = (got == (int)sizeof(pat)) &&
              __builtin_memcmp(rb, pat, sizeof(pat)) == 0;
    HCP_LOGI(hcp::log::kDomainModbus, "loopback got=%d/%u echo_ok=%d", got,
             (unsigned)sizeof(pat), ok ? 1 : 0);
    time::DelayMs(1000);
  }
}
#endif  // CONFIG_HCP_SERIAL_LOOPBACK_TEST

#ifdef CONFIG_HCP_RTU_PROBE
namespace {

// Modbus CRC-16 (poly 0xA001, init 0xFFFF) - what the subsys computes too, written
// here because the probe has to build a request without the subsys involved.
uint16_t Crc16(const uint8_t* p, size_t n) {
  uint16_t c = 0xFFFF;
  for (size_t i = 0; i < n; i++) {
    c ^= p[i];
    for (int k = 0; k < 8; k++) {
      c = (c & 1U) ? static_cast<uint16_t>((c >> 1) ^ 0xA001U)
                   : static_cast<uint16_t>(c >> 1);
    }
  }
  return c;
}

int Nibble(char c) {
  if (c >= '0' && c <= '9') {
    return c - '0';
  }
  if (c >= 'a' && c <= 'f') {
    return c - 'a' + 10;
  }
  if (c >= 'A' && c <= 'F') {
    return c - 'A' + 10;
  }
  return -1;
}

}  // namespace

/* One request, and the raw bytes that came back.
 *
 * Zephyr's modbus_serial refuses a frame whose CRC does not match *before* logging
 * anything, so a real slave on the bus yields "err=-5, nothing received" and no way
 * forward. Printing the reply separates "the meter answered something unexpected" from
 * "the bytes are corrupted on the wire", which no subsys log level can tell apart. */
void BringupAids::RtuProbeWorker(void* /*arg*/) {
  hcp::serial::Port p;
  if (!p.Open(CONFIG_HCP_SERIAL_UART_BAUD)) {
    HCP_LOGE(hcp::log::kDomainModbus, "rtu probe: uart open failed");
    return;
  }

  static constexpr char kReq[] = CONFIG_HCP_RTU_PROBE_REQUEST;
  uint8_t frame[40] = {};
  size_t n = 0;
  for (size_t i = 0; kReq[2 * i] != '\0' && n < sizeof(frame) - 2; i++) {
    const int hi = Nibble(kReq[2 * i]);
    const int lo = Nibble(kReq[2 * i + 1]);
    if (hi < 0 || lo < 0) {
      HCP_LOGE(hcp::log::kDomainModbus, "rtu probe: bad request hex");
      return;
    }
    frame[n++] = static_cast<uint8_t>((hi << 4) | lo);
  }
  const uint16_t tx_crc = Crc16(frame, n);
  frame[n++] = static_cast<uint8_t>(tx_crc & 0xFF);  // Modbus sends CRC low first
  frame[n++] = static_cast<uint8_t>(tx_crc >> 8);

  uint8_t rb[80] = {};
  HCP_LOGI(hcp::log::kDomainModbus, "rtu probe: %u baud, %u byte request, every 2 s",
           (unsigned)CONFIG_HCP_SERIAL_UART_BAUD, (unsigned)n);
  while (true) {
    uint8_t d = 0;
    while (p.Read(&d, 1, 0) > 0) {  // start from a clean fifo
    }
    const int64_t t_tx = k_uptime_get();
    p.Write(frame, n);
    /* What is in the RX FIFO the moment our write returns. On a half-duplex line the
     * master can hear its own request, and Zephyr's rx_fifo_drain() only runs from an
     * RX interrupt that is disabled at that point - effectively dead code. Those bytes
     * stay queued and shift the reply by 8, which reads as a CRC error. */
    int echo = 0;
    uint8_t eb = 0;
    while (p.Read(&eb, 1, 0) > 0 && echo < (int)n + 4) {
      echo++;
    }
    /* How long until the slave's first byte and how much survives: a slave that starts
     * answering within a millisecond of our last stop bit is what a master that closes
     * its receiver during TX clips, and a clipped head byte looks like a CRC error. */
    const int one = p.Read(rb, 1, 800);
    const int64_t t_first = k_uptime_get();
    int got = one > 0 ? 1 : 0;
    if (got > 0) {
      /* Byte-by-byte with each gap's arrival time. An RTU frame is defined by silence,
       * so a reply in two bursts with more than the inter-character timeout between them
       * is torn into two frames - the first half fails its CRC while a whole-byte read
       * still looks perfect. Only the timing shows it. */
      int64_t prev = t_first;
      char gaps[120] = {};
      int used = 0;
      while (got < (int)sizeof(rb)) {
        const int r = p.Read(rb + got, 1, 60);
        if (r <= 0) {
          break;
        }
        const int64_t now = k_uptime_get();
        if (now - prev > 2 && used < (int)sizeof(gaps) - 12) {
          used += snprintk(gaps + used, sizeof(gaps) - used, " +%lldms", (long long)(now - prev));
        }
        prev = now;
        got++;
      }
      if (used > 0) {
        HCP_LOGI(hcp::log::kDomainModbus, "gaps inside the reply:%s", gaps);
      }
    }

    char text[sizeof(rb) * 3 + 1] = {};
    int used = 0;
    for (int i = 0; i < got && used < (int)sizeof(text) - 4; i++) {
      used += snprintk(text + used, sizeof(text) - used, "%02X ", rb[i]);
    }
    bool crc_ok = false;
    if (got >= 4) {
      const uint16_t want = Crc16(rb, static_cast<size_t>(got - 2));
      crc_ok = rb[got - 2] == static_cast<uint8_t>(want & 0xFF) &&
               rb[got - 1] == static_cast<uint8_t>(want >> 8);
    }
    HCP_LOGI(hcp::log::kDomainModbus,
             "first byte after %lld ms, echoed-own-tx %d, got %d, crc %s: %s",
             static_cast<long long>(t_first - t_tx), echo, got,
             crc_ok ? "GOOD" : "bad", text);
    time::DelayMs(2000);
  }
}
#endif  // CONFIG_HCP_RTU_PROBE

#ifdef CONFIG_HCP_NET_DEMO
void BringupAids::OnWifi(hcp::net::WifiEvent e, void* /*user*/) {
  using E = hcp::net::WifiEvent;
  const char* s = (e == E::kConnected)       ? "connected (IP up)"
                  : (e == E::kConnecting)   ? "connecting"
                  : (e == E::kDisconnected) ? "disconnected"
                  : (e == E::kConnectFailed) ? "connect failed"
                                             : "?";
  HCP_LOGI(hcp::log::kDomainWifi, "wifi %s", s);
}

void BringupAids::NetWorker(void* /*arg*/) {
  hcp::net::wifi::SetCallback(OnWifi);
  if (!hcp::net::wifi::Init()) {
    HCP_LOGE(hcp::log::kDomainWifi, "wifi init failed");
    return;
  }
  hcp::net::WifiCredential cred;
  cred.ssid = CONFIG_HCP_NET_SSID;
  cred.psk = CONFIG_HCP_NET_PSK[0] ? CONFIG_HCP_NET_PSK : nullptr;
  while (true) {
    if (!hcp::net::wifi::IsConnected()) {
      HCP_LOGI(hcp::log::kDomainWifi, "connecting to \"%s\"", CONFIG_HCP_NET_SSID);
      hcp::net::wifi::Connect(cred);
    }
    time::DelayMs(3000);
  }
}
#endif  // CONFIG_HCP_NET_DEMO

void BringupAids::Start() {
  // hcp::provision owns the button and the status LED when it is in the build; this
  // binding is for bench builds without it.
#ifndef CONFIG_HCP_PROVISION
  if (!hcp::input::Button::Init(OnButton, nullptr)) {
    HCP_LOGW(hcp::log::kDomainDevice, "button init failed (no sw0?)");
  }
#endif

#if defined(CONFIG_HCP_BENCH) && defined(CONFIG_HCP_LED) && !defined(CONFIG_HCP_PROVISION)
  Thread led(LedWorker, nullptr, "led");
  led.Start();
#endif

#ifdef CONFIG_HCP_MODBUS_DEMO
  Thread mb(ModbusWorker, nullptr, "modbus");
  mb.Start();
#endif

#ifdef CONFIG_HCP_SERIAL_LOOPBACK_TEST
  Thread lb(LoopbackWorker, nullptr, "loopback");
  lb.Start();
#endif

#ifdef CONFIG_HCP_RTU_PROBE
  Thread probe(RtuProbeWorker, nullptr, "rtuprobe");
  probe.Start();
#endif

#ifdef CONFIG_HCP_NET_DEMO
  Thread net(NetWorker, nullptr, "net");
  net.Start();
#endif
}

}  // namespace app
}  // namespace hcp
```

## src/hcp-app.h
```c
/*
 * Helios Collector Platform (HCP) — the application object.
 *
 * One instance exists, in main.cpp. It owns the start-up order (hcp-app.cpp) and
 * one instance of each collaborator the order needs; the collaborators themselves
 * are in app.h next to their implementations.
 *
 * Copyright (c) 2026 maybetaken
 *
 * SPDX-License-Identifier: Apache-2.0
 */
#pragma once

#include "app.h"

namespace hcp {

class App {
 public:
  /* Brings the device up and does not return: the bring-up aids, provisioning,
   * the network services, then the liveness loop. */
  void Start();

 private:
  /* The 1 s liveness line, at debug level. Kept because it is the output that
   * continues after everything else has failed - and nothing more than that: the
   * P0 self-test that used to sit here (queue, timer, "got 1..5") is gone, see
   * the note in hcp-app.cpp about what it was accidentally hiding. */
  void AliveLoop();

  app::BringupAids aids_;
  app::Services services_;
#ifdef CONFIG_BLUFI
  app::PhoneProvisioner phone_;
#endif
};

}  // namespace hcp
```
